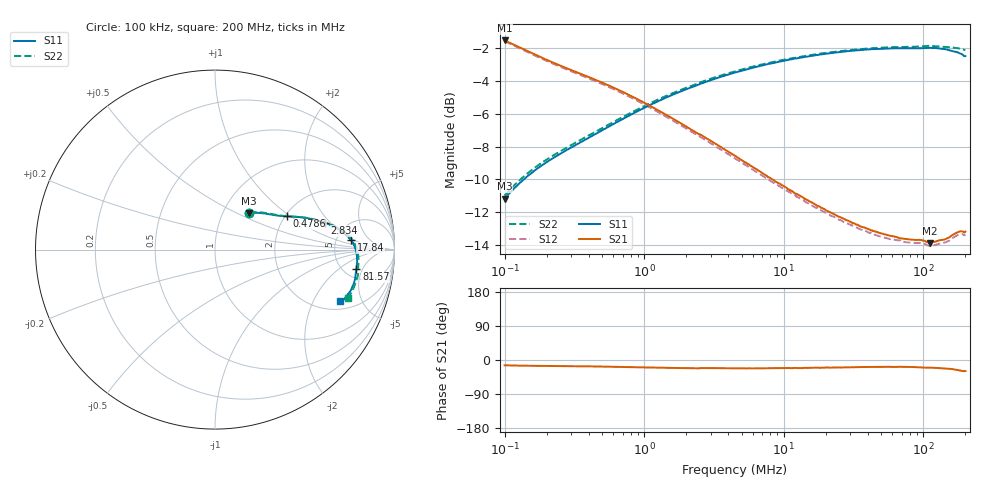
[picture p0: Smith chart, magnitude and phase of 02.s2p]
#  HZ  S  RI  R  50.00
! Rohde & Schwarz Vector Network Analyzer
! Rohde-Schwarz,ZNLE6-2Port,1323001256200024,1.71.1.10-23.02.1.238
! Created: UTC 4/8/2025, 6:37:01 AM
! freq[Hz]  re:S11  im:S11  re:S21  im:S21  re:S12  im:S12  re:S22  im:S22
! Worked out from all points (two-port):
!   1001 points, 100 kHz to 200 MHz, reference 50 ohm
!   highest |S21| = -1.51 dB at 100 kHz (marker M1); lowest = -13.9 dB at 111.4 MHz (marker M2)
!   |S21| within 3 dB of the highest: start of sweep to 645.4 kHz
!   lowest |S11| = -11.2 dB at 100 kHz (marker M3), VSWR 1.76, Z = 65.8 + j28.9 ohm
!   |S11| at or under -10 dB: start of sweep to 137.4 kHz
!   |S22| runs from -11.0 to -1.8 dB; largest |S21 - S12| = 0.014
!   S11 on the Smith chart (normalised r, x): 100 kHz: 1.32, +0.58; 478.6 kHz: 2.05, +0.94; 2.834 MHz: 3.51, +1.72; 17.84 MHz: 6.87, +1.76; 81.57 MHz: 6.44, -3.83; 200 MHz: 2.48, -3.28
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100000  0.1868 0.203  0.8153 -0.2031  0.8102 -0.2068  0.192 0.2067
133487.1  0.2358 0.2051  0.7663 -0.2055  0.7603 -0.2087  0.242 0.2083
171543.1  0.2751 0.2015  0.7271 -0.202  0.7209 -0.2046  0.2815 0.204
355854.1  0.367 0.1874  0.6353 -0.1883  0.6285 -0.1896  0.374 0.1887
478643.5  0.4014 0.1851  0.6011 -0.1864  0.5942 -0.1874  0.4084 0.186
772639.8  0.4594 0.1819  0.543 -0.1845  0.5361 -0.185  0.4665 0.1824
1266322  0.5206 0.1739  0.4812 -0.1783  0.4743 -0.1782  0.5275 0.1739
2397897  0.5937 0.1555  0.4063 -0.1627  0.4 -0.1614  0.6001 0.155
2834348  0.613 0.148  0.3913 -0.1535  0.3811 -0.1607  0.6184 0.1509
4472136  0.6576 0.1305  0.346 -0.1396  0.3371 -0.1429  0.6632 0.1327
8152604  0.708 0.1  0.2949 -0.1173  0.2867 -0.1219  0.713 0.103
1.591428e7  0.7517 0.0608  0.2512 -0.0949  0.2445 -0.0968  0.7564 0.0646
1.783621e7  0.758 0.054  0.2449 -0.0922  0.2394 -0.0921  0.7625 0.057
2.945577e7  0.7799 0.0145  0.2221 -0.078  0.217 -0.0777  0.7845 0.0198
3.931964e7  0.7881 -0.0132  0.2121 -0.0716  0.2072 -0.0712  0.7932 -0.00592
5.663162e7  0.7918 -0.0576  0.2026 -0.0655  0.1962 -0.0689  0.7993 -0.0447
8.156587e7  0.7875 -0.1093  0.1963 -0.0653  0.1902 -0.0689  0.7985 -0.0922
1.001466e8  0.7828 -0.1426  0.1931 -0.0703  0.1872 -0.0734  0.7965 -0.1228
1.113911e8  0.7807 -0.164  0.1895 -0.0705  0.1834 -0.0733  0.7959 -0.1447
1.420639e8  0.7589 -0.2229  0.1915 -0.079  0.186 -0.0805  0.7795 -0.1953
1.83958e8  0.7136 -0.2813  0.1938 -0.1025  0.188 -0.104  0.7516 -0.2535
2e8  0.6954 -0.2869  0.191 -0.1068  0.1854 -0.108  0.7385 -0.2679
